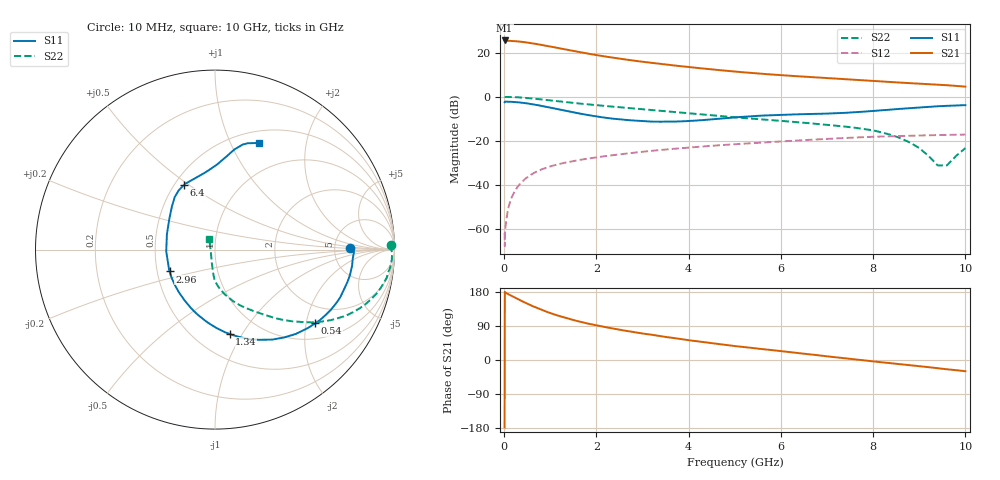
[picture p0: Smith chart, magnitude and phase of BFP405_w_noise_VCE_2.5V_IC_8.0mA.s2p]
! Infineon Technologies  Discrete & RF Semiconductors
! BFP405
! VCE =  2.5 V,  IC =  8.0 mA
! Common Emitter S-Parameters:  Jan 2016
# GHz  S  MA  R  50
!  f  S11  S21  S12  S22
! GHz  MAG  ANG  MAG  ANG  MAG  ANG  MAG  ANG
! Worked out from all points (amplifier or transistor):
!   233 points, 10 MHz to 10 GHz, reference 50 ohm
!   highest |S21| = 25.6 dB at 10 MHz (marker M1)
!   |S21| within 3 dB of that: start of sweep to 1.063 GHz
!   unconditionally stable (mu >= 1): start of sweep to 17.13 MHz; 2.873 GHz to end of sweep
!   at 200 MHz: K = 0.13, MSG = 34.7 dB, |S12| = -44.2 dB
!   at 1.74 GHz: K = 0.70, MSG = 24.1 dB, |S12| = -28.4 dB
!   at 10 GHz: K = 1.40, MAG = 7.1 dB, |S12| = -17.2 dB
!   lowest NFmin = 1.48 dB at 900 MHz
!   S11 on the Smith chart (normalised r, x): 10 MHz: 7.06, +0.34; 540 MHz: 1.43, -2.25; 1.34 GHz: 0.73, -0.88; 2.96 GHz: 0.58, -0.15; 6.4 GHz: 0.56, +0.48; 10 GHz: 0.64, +1.29
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0.01  0.7524 0.8  18.99 -177.9  0.0008 -48.5  0.9788 1.5
0.015  0.7633 -0.1  18.9 180.0  0.0004 24.0  0.9804 0.7
0.02  0.7743 -1.0  18.83 177.8  0.0009 82.0  0.9822 0.0
0.1  0.769 -6.8  18.66 172.9  0.0032 86.9  0.9874 -2.9
0.24  0.7532 -16.6  18.32 164.3  0.0074 82.1  0.9724 -7.5
0.4  0.7269 -27.6  17.62 154.5  0.012 77.6  0.9526 -12.2
0.54  0.6926 -36.4  16.8 146.6  0.0158 73.7  0.9262 -16.0
0.7  0.6509 -46.2  15.79 138.0  0.0197 69.8  0.8923 -19.9
0.9  0.5939 -57.6  14.5 128.2  0.024 65.9  0.8469 -24.2
1.1  0.5378 -68.3  13.23 119.7  0.0279 62.6  0.8029 -27.8
1.34  0.4774 -80.1  11.81 110.8  0.0319 59.5  0.7533 -31.5
1.68  0.4066 -96.1  10.13 100.0  0.0372 56.2  0.6913 -35.8
2.2  0.3319 -120.1  8.171 86.6  0.0446 52.4  0.6142 -40.9
2.96  0.2806 -154.3  6.308 70.7  0.0554 47.7  0.5233 -47.5
3.4  0.2702 -173.5  5.549 62.8  0.0616 44.8  0.4757 -51.2
4  0.2811 162.4  4.722 52.2  0.0699 40.8  0.4172 -56.5
5.1  0.3449 133.4  3.655 35.5  0.0843 33.0  0.3336 -66.6
6.4  0.399 115.6  2.901 18.0  0.1016 24.0  0.2609 -76.7
6.8  0.4076 108.9  2.723 12.6  0.1071 20.9  0.2397 -79.8
8.4  0.5116 84.1  2.146 -8.7  0.1263 6.9  0.1342 -94.2
9.4  0.6054 75.2  1.881 -21.8  0.1342 -1.5  0.0274 -146.8
10  0.6432 67.5  1.694 -29.6  0.1379 -5.8  0.0678 118.3
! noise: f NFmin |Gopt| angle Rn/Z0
0.9  1.48  0.25  8  0.32
1.8  1.74  0.19  10  0.3
2.4  1.86  0.16  14  0.3
3  1.88  0.12  33  0.28
4  2.05  0.03  -6  0.27
5  2.41  0.06  -110  0.26
